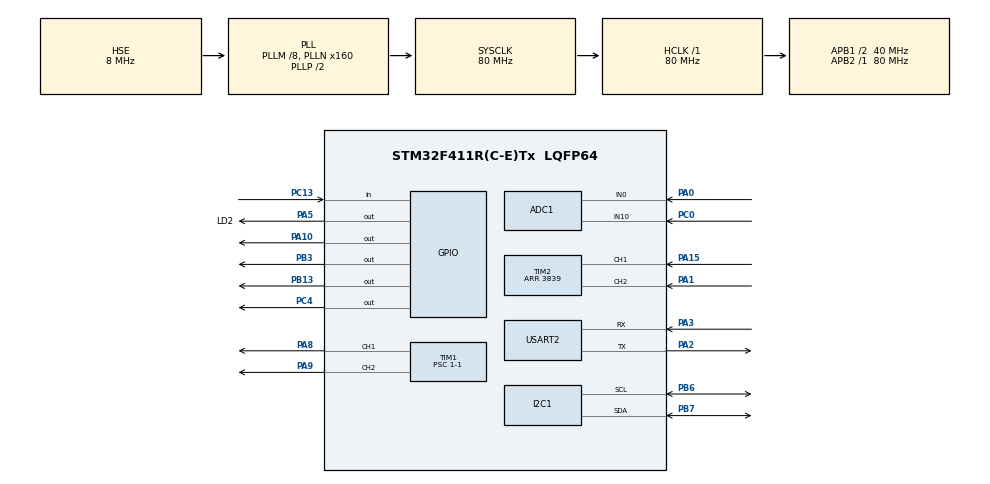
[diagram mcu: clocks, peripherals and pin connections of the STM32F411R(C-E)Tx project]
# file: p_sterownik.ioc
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ADC1.Channel-10\#ChannelRegularConversion=ADC_CHANNEL_0
ADC1.Channel-11\#ChannelRegularConversion=ADC_CHANNEL_10
ADC1.ContinuousConvMode=ENABLE
ADC1.NbrOfConversion=2
ADC1.NbrOfConversionFlag=1
ADC1.Rank-10\#ChannelRegularConversion=1
ADC1.Rank-11\#ChannelRegularConversion=2
ADC1.SamplingTime-10\#ChannelRegularConversion=ADC_SAMPLETIME_3CYCLES
ADC1.SamplingTime-11\#ChannelRegularConversion=ADC_SAMPLETIME_3CYCLES
ADC1.ScanConvMode=ENABLE
ADC1.master=1
Dma.Request0=USART2_RX
Dma.Request1=USART2_TX
Dma.USART2_RX.0.Direction=DMA_PERIPH_TO_MEMORY
Dma.USART2_RX.0.FIFOMode=DMA_FIFOMODE_DISABLE
Dma.USART2_RX.0.Instance=DMA1_Stream5
Dma.USART2_RX.0.MemDataAlignment=DMA_MDATAALIGN_BYTE
Dma.USART2_RX.0.MemInc=DMA_MINC_ENABLE
Dma.USART2_RX.0.Mode=DMA_CIRCULAR
Dma.USART2_RX.0.PeriphDataAlignment=DMA_PDATAALIGN_BYTE
Dma.USART2_RX.0.PeriphInc=DMA_PINC_DISABLE
Dma.USART2_RX.0.Priority=DMA_PRIORITY_LOW
Dma.USART2_TX.1.Direction=DMA_MEMORY_TO_PERIPH
Dma.USART2_TX.1.FIFOMode=DMA_FIFOMODE_DISABLE
Dma.USART2_TX.1.Instance=DMA1_Stream6
Dma.USART2_TX.1.MemDataAlignment=DMA_MDATAALIGN_BYTE
Dma.USART2_TX.1.MemInc=DMA_MINC_ENABLE
Dma.USART2_TX.1.Mode=DMA_CIRCULAR
Dma.USART2_TX.1.PeriphDataAlignment=DMA_PDATAALIGN_BYTE
Dma.USART2_TX.1.PeriphInc=DMA_PINC_DISABLE
Dma.USART2_TX.1.Priority=DMA_PRIORITY_LOW
I2C1.I2C_Mode=I2C_Standard
Mcu.Family=STM32F4
Mcu.Name=STM32F411R(C-E)Tx
Mcu.Package=LQFP64
NVIC.DMA1_Stream5_IRQn=true\:0\:0\:false\:false\:true\:false\:true\:true
NVIC.DMA1_Stream6_IRQn=true\:0\:0\:false\:false\:true\:false\:true\:true
NVIC.I2C1_EV_IRQn=true\:0\:0\:false\:false\:true\:true\:true\:true
NVIC.PriorityGroup=NVIC_PRIORITYGROUP_4
NVIC.TIM1_UP_TIM10_IRQn=true\:0\:0\:false\:false\:true\:true\:true\:true
NVIC.USART2_IRQn=true\:0\:0\:false\:false\:true\:true\:true\:true
PA0-WKUP.Signal=ADCx_IN0
PA1.Signal=S_TIM2_CH2
PA10.Signal=GPIO_Output
PA15.Signal=S_TIM2_CH1_ETR
PA2.Mode=Asynchronous
PA2.Signal=USART2_TX
PA3.Mode=Asynchronous
PA3.Signal=USART2_RX
PA5.GPIO_Label=LD2
PA5.GPIO_Speed=GPIO_SPEED_FREQ_HIGH
PA5.Signal=GPIO_Output
PA8.Signal=S_TIM1_CH1
PA9.Signal=S_TIM1_CH2
PB13.GPIO_PuPd=GPIO_PULLUP
PB13.Signal=GPIO_Output
PB3.Signal=GPIO_Output
PB6.GPIO_Pu=GPIO_NOPULL
PB6.Mode=I2C
PB6.Signal=I2C1_SCL
PB7.GPIO_Pu=GPIO_NOPULL
PB7.Mode=I2C
PB7.Signal=I2C1_SDA
PC0.Signal=ADCx_IN10
PC13-ANTI_TAMP.Signal=GPIO_Input
PC4.Signal=GPIO_Output
PH0\ -\ OSC_IN.Mode=HSE-External-Oscillator
PH0\ -\ OSC_IN.Signal=RCC_OSC_IN
PH1\ -\ OSC_OUT.Mode=HSE-External-Oscillator
PH1\ -\ OSC_OUT.Signal=RCC_OSC_OUT
ProjectManager.HeapSize=0x200
ProjectManager.StackSize=0x400
ProjectManager.TargetToolchain=STM32CubeIDE
RCC.48MHZClocksFreq_Value=40000000
RCC.AHBFreq_Value=80000000
RCC.APB1CLKDivider=RCC_HCLK_DIV2
RCC.APB1Freq_Value=40000000
RCC.APB1TimFreq_Value=80000000
RCC.APB2Freq_Value=80000000
RCC.APB2TimFreq_Value=80000000
RCC.CortexFreq_Value=80000000
RCC.HCLKFreq_Value=80000000
RCC.HSE_VALUE=8000000
RCC.HSI_VALUE=16000000
RCC.LSE_VALUE=32768
RCC.PLLM=8
RCC.PLLN=160
RCC.PLLSourceVirtual=RCC_PLLSOURCE_HSE
RCC.SYSCLKFreq_VALUE=80000000
RCC.SYSCLKSource=RCC_SYSCLKSOURCE_PLLCLK
RCC.VCOOutputFreq_Value=160000000
SH.ADCx_IN0.0=ADC1_IN0,IN0
SH.ADCx_IN10.0=ADC1_IN10,IN10
SH.S_TIM1_CH1.0=TIM1_CH1,PWM Generation1 CH1
SH.S_TIM1_CH2.0=TIM1_CH2,PWM Generation2 CH2
SH.S_TIM2_CH1_ETR.0=TIM2_CH1,Encoder_Interface
SH.S_TIM2_CH2.0=TIM2_CH2,Encoder_Interface
TIM1.Channel-PWM\ Generation1\ CH1=TIM_CHANNEL_1
TIM1.Channel-PWM\ Generation2\ CH2=TIM_CHANNEL_2
TIM1.Period=1000-1
TIM1.Prescaler=1-1
TIM1.Pulse-PWM\ Generation1\ CH1=300
TIM1.Pulse-PWM\ Generation2\ CH2=300
TIM10.Period=80
TIM10.Prescaler=9999
TIM2.EncoderMode=TIM_ENCODERMODE_TI12
TIM2.IC1Filter=15
TIM2.IC2Filter=15
TIM2.Period=3839
TIM3.Period=20000
TIM3.Prescaler=64000
USART2.VirtualMode=VM_ASYNC
VP_TIM10_VS_ClockSourceINT.Mode=Enable_Timer
VP_TIM3_VS_ClockSourceINT.Mode=Internal
board=custom

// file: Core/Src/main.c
/* USER CODE BEGIN Header */
/**
  ******************************************************************************
  * @file           : main.c
  * @brief          : Main program body
  ******************************************************************************
  * @attention
  *
  * <h2><center>&copy; Copyright (c) 2022 STMicroelectronics.
  * All rights reserved.</center></h2>
  *
  * This software component is licensed by ST under BSD 3-Clause license,
  * the "License"; You may not use this file except in compliance with the
  * License. You may obtain a copy of the License at:
  *                        opensource.org/licenses/BSD-3-Clause
  *
  ******************************************************************************
  */
/* USER CODE END Header */
#include "main.h"

/* USER CODE BEGIN Includes */
#include "string.h"
#include <stdio.h>
#include "math.h"
#include "HMC5883L.h"

//#include "i2c.h"

/* USER CODE END Includes */

 ADC_HandleTypeDef hadc1;

I2C_HandleTypeDef hi2c1;

TIM_HandleTypeDef htim1;
TIM_HandleTypeDef htim2;
TIM_HandleTypeDef htim3;
TIM_HandleTypeDef htim10;

UART_HandleTypeDef huart2;
DMA_HandleTypeDef hdma_usart2_rx;
DMA_HandleTypeDef hdma_usart2_tx;

/* USER CODE BEGIN PV */
volatile const float c=5.2*3.14; // Licznik impulsow
volatile const float k=(5.2*3.14)/3840;
volatile uint16_t Vamb, Vamb_1;
/* USER CODE END PV */

void SystemClock_Config(void);
static void MX_GPIO_Init(void);
static void MX_TIM1_Init(void);
static void MX_DMA_Init(void);
static void MX_I2C1_Init(void);
static void MX_USART2_UART_Init(void);
static void MX_TIM3_Init(void);
static void MX_TIM2_Init(void);
static void MX_ADC1_Init(void);
static void MX_TIM10_Init(void);

/* USER CODE BEGIN 0 */
/*void HAL_TIM_PeriodElapsedCallback(TIM_HandleTypeDef *htim)

 {
	  HAL_GPIO_TogglePin(GPIOA, GPIO_PIN_5);

 }*/

uint8_t Data[6];
int16_t rawData[3];
float scaledData[3];
float azymuth=0;
char msg[30];
int16_t xoffset=0, yoffset=0;
float direction = 359.5;

//Zatrzymanie silników
void stop()
{
    HAL_GPIO_WritePin(GPIOC, GPIO_PIN_4, RESET);
    HAL_GPIO_WritePin(GPIOA, GPIO_PIN_10, RESET);
    HAL_GPIO_WritePin(GPIOB, GPIO_PIN_13, RESET);
    HAL_GPIO_WritePin(GPIOB, GPIO_PIN_3, RESET);
}

//Ruch prosto
void move_forward(int time)
{

    HAL_GPIO_WritePin(GPIOC, GPIO_PIN_4, SET);
    HAL_GPIO_WritePin(GPIOB, GPIO_PIN_13, RESET);
    HAL_GPIO_WritePin(GPIOB, GPIO_PIN_3, SET);
    HAL_GPIO_WritePin(GPIOA, GPIO_PIN_10, RESET);

    HAL_Delay(time);
    stop();
}

//Obrót w prawo przez określony czas
void turn_right_time(int time)
{
    HAL_GPIO_WritePin(GPIOC, GPIO_PIN_4, SET);
    HAL_GPIO_WritePin(GPIOB, GPIO_PIN_13, RESET);
    HAL_GPIO_WritePin(GPIOB, GPIO_PIN_3, RESET);
    HAL_GPIO_WritePin(GPIOA, GPIO_PIN_10, SET);
    HAL_Delay(time);
    stop();
}

//Obrót w prawo (ciągły)
void turn_right()
{
    HAL_GPIO_WritePin(GPIOC, GPIO_PIN_4, SET);
    HAL_GPIO_WritePin(GPIOB, GPIO_PIN_3, RESET);
    HAL_GPIO_WritePin(GPIOB, GPIO_PIN_13, RESET);
    HAL_GPIO_WritePin(GPIOA, GPIO_PIN_10, SET);
}

//Obrót w lewo przez określony czas
void turn_left_time(int time)
{
    HAL_GPIO_WritePin(GPIOB, GPIO_PIN_3, SET);
    HAL_GPIO_WritePin(GPIOA, GPIO_PIN_10, RESET);
    HAL_GPIO_WritePin(GPIOC, GPIO_PIN_4, RESET);
    HAL_GPIO_WritePin(GPIOB, GPIO_PIN_13,SET);
    HAL_Delay(time);
    stop();
}

//Obrót w lewo (ciągły)
void turn_left()
{
    HAL_GPIO_WritePin(GPIOB, GPIO_PIN_3, SET);
    HAL_GPIO_WritePin(GPIOC, GPIO_PIN_4, RESET);
    HAL_GPIO_WritePin(GPIOA, GPIO_PIN_10, RESET);
    HAL_GPIO_WritePin(GPIOB, GPIO_PIN_13,SET);

}

//Wyślij napis przez UART
void send_string(char* s)
{
    HAL_UART_Transmit(&huart2, (uint8_t*)s, strlen(s), 100);
}

//Zmiana predkosci silników
void change_speed(uint32_t pulse)
{
    htim1.Instance->CCR1=pulse;
    htim1.Instance->CCR2=pulse;
}

void move_forward_1()
{

    HAL_GPIO_WritePin(GPIOC, GPIO_PIN_4, SET);
    HAL_GPIO_WritePin(GPIOB, GPIO_PIN_13, RESET);
    HAL_GPIO_WritePin(GPIOB, GPIO_PIN_3, SET);
    HAL_GPIO_WritePin(GPIOA, GPIO_PIN_10, RESET);

   // HAL_Delay(time);
  //  stop();
}

void ch_0(){
	 ADC_ChannelConfTypeDef sConfig = {0};
  sConfig.Channel = ADC_CHANNEL_0;
  sConfig.Rank = 1;
  sConfig.SamplingTime = ADC_SAMPLETIME_3CYCLES;
  if (HAL_ADC_ConfigChannel(&hadc1, &sConfig) != HAL_OK)
  {
    Error_Handler();
  }}

void ch_10(){
	 ADC_ChannelConfTypeDef sConfig = {0};
sConfig.Channel = ADC_CHANNEL_10;
  sConfig.Rank = 1;
  sConfig.SamplingTime = ADC_SAMPLETIME_3CYCLES;
  if (HAL_ADC_ConfigChannel(&hadc1, &sConfig) != HAL_OK)
  {
    Error_Handler();
  }}
/* USER CODE END 0 */

int main(void)
{

  /* MCU Configuration--------------------------------------------------------*/

  /* Reset of all peripherals, Initializes the Flash interface and the Systick. */
  HAL_Init();

  /* Configure the system clock */
  SystemClock_Config();

  /* Initialize all configured peripherals */
  MX_GPIO_Init();
  MX_TIM1_Init();
  MX_DMA_Init();
  MX_I2C1_Init();
  MX_USART2_UART_Init();
  MX_TIM3_Init();
  MX_TIM2_Init();
  MX_ADC1_Init();
  MX_TIM10_Init();
  /* USER CODE BEGIN 2 */
   __HAL_RCC_I2C1_CLK_ENABLE();
   __I2C1_CLK_ENABLE();
   __HAL_RCC_USART2_CLK_ENABLE();
   HAL_TIM_Base_Start_IT(&htim1);
   HAL_TIM_PWM_Start(&htim1, TIM_CHANNEL_1);
   HAL_TIM_PWM_Start(&htim1, TIM_CHANNEL_2);
   HAL_TIM_Encoder_Start(&htim2, TIM_CHANNEL_ALL);

   __HAL_RCC_GPIOA_CLK_ENABLE();
   	__HAL_RCC_USART2_CLK_ENABLE();
   	__HAL_RCC_ADC1_CLK_ENABLE();
   //	HAL_ADCEx_Calibration_Start(&hadc1);

    HAL_ADC_Start(&hadc1);
   // HAL_ADC_PollForConversion(&hadc1, 1);
  //  Vamb = HAL_ADC_GetValue(&hadc1);
  //  DC_Multiplier = 65535/(4096-Vamb);

    HAL_TIM_Base_Start_IT(&htim10);
  //  HAL_Delay(5000);
  //  magnetometer_init();
  //  calibrate();
 //  HAL_Delay(1000);

    // move_(88);

    while(1){

    	    ch_0();
    		  HAL_ADC_Start(&hadc1);
    		  HAL_ADC_PollForConversion(&hadc1, 1000);
    		  Vamb = HAL_ADC_GetValue(&hadc1);
    		  HAL_ADC_Stop(&hadc1);

    		  ch_10();
    		  HAL_ADC_Start(&hadc1);
    		  HAL_ADC_PollForConversion(&hadc1, 1000);
    		  Vamb_1= HAL_ADC_GetValue(&hadc1);
    		  HAL_ADC_Stop(&hadc1);

    	}
    /*	if(k*cnt>10){
    	stop();
    	}
    	}*/
   // HAL_Delay(1000);
  //  magnetic_direction();
  //  HAL_Delay(1000);
  //  turn_left_time(2000);
  //  HAL_Delay(1000);

    /*HAL_Delay(1000);
    turn_left_time(1000);
    north();
    HAL_Delay(1000);
    turn_right_time(1000);
    north();*/

  /* USER CODE END 2 */

  /* Infinite loop */
  /* USER CODE BEGIN WHILE */
    while (1)
    {
   //     HAL_GPIO_TogglePin(GPIOA, GPIO_PIN_5);
    //    HAL_Delay(500);
   //     magnetometer_measure();
    /* USER CODE END WHILE */

    }
}

void SystemClock_Config(void)
{
  RCC_OscInitTypeDef RCC_OscInitStruct = {0};
  RCC_ClkInitTypeDef RCC_ClkInitStruct = {0};

  /** Configure the main internal regulator output voltage
  */
  __HAL_RCC_PWR_CLK_ENABLE();
  __HAL_PWR_VOLTAGESCALING_CONFIG(PWR_REGULATOR_VOLTAGE_SCALE1);

  /** Initializes the RCC Oscillators according to the specified parameters
  * in the RCC_OscInitTypeDef structure.
  */
  RCC_OscInitStruct.OscillatorType = RCC_OSCILLATORTYPE_HSE;
  RCC_OscInitStruct.HSEState = RCC_HSE_ON;
  RCC_OscInitStruct.PLL.PLLState = RCC_PLL_ON;
  RCC_OscInitStruct.PLL.PLLSource = RCC_PLLSOURCE_HSE;
  RCC_OscInitStruct.PLL.PLLM = 8;
  RCC_OscInitStruct.PLL.PLLN = 160;
  RCC_OscInitStruct.PLL.PLLP = RCC_PLLP_DIV2;
  RCC_OscInitStruct.PLL.PLLQ = 4;
  if (HAL_RCC_OscConfig(&RCC_OscInitStruct) != HAL_OK)
  {
    Error_Handler();
  }

  /** Initializes the CPU, AHB and APB buses clocks
  */
  RCC_ClkInitStruct.ClockType = RCC_CLOCKTYPE_HCLK|RCC_CLOCKTYPE_SYSCLK
                              |RCC_CLOCKTYPE_PCLK1|RCC_CLOCKTYPE_PCLK2;
  RCC_ClkInitStruct.SYSCLKSource = RCC_SYSCLKSOURCE_PLLCLK;
  RCC_ClkInitStruct.AHBCLKDivider = RCC_SYSCLK_DIV1;
  RCC_ClkInitStruct.APB1CLKDivider = RCC_HCLK_DIV2;
  RCC_ClkInitStruct.APB2CLKDivider = RCC_HCLK_DIV1;

  if (HAL_RCC_ClockConfig(&RCC_ClkInitStruct, FLASH_LATENCY_2) != HAL_OK)
  {
    Error_Handler();
  }
}

static void MX_ADC1_Init(void)
{

  ADC_ChannelConfTypeDef sConfig = {0};

  /** Configure the global features of the ADC (Clock, Resolution, Data Alignment and number of conversion)
  */
  hadc1.Instance = ADC1;
  hadc1.Init.ClockPrescaler = ADC_CLOCK_SYNC_PCLK_DIV4;
  hadc1.Init.Resolution = ADC_RESOLUTION_12B;
  hadc1.Init.ScanConvMode = ENABLE;
  hadc1.Init.ContinuousConvMode = ENABLE;
  hadc1.Init.DiscontinuousConvMode = DISABLE;
  hadc1.Init.ExternalTrigConvEdge = ADC_EXTERNALTRIGCONVEDGE_NONE;
  hadc1.Init.ExternalTrigConv = ADC_SOFTWARE_START;
  hadc1.Init.DataAlign = ADC_DATAALIGN_RIGHT;
  hadc1.Init.NbrOfConversion = 1;
  hadc1.Init.DMAContinuousRequests = DISABLE;
  hadc1.Init.EOCSelection = ADC_EOC_SINGLE_CONV;
  if (HAL_ADC_Init(&hadc1) != HAL_OK)
  {
    Error_Handler();
  }

  /** Configure for the selected ADC regular channel its corresponding rank in the sequencer and its sample time.
  *//*
  sConfig.Channel = ADC_CHANNEL_0;
  sConfig.Rank = 1;
  sConfig.SamplingTime = ADC_SAMPLETIME_3CYCLES;
  if (HAL_ADC_ConfigChannel(&hadc1, &sConfig) != HAL_OK)
  {
    Error_Handler();
  }*/

  /** Configure for the selected ADC regular channel its corresponding rank in the sequencer and its sample time.
  *//*
  sConfig.Channel = ADC_CHANNEL_10;
  sConfig.Rank = 1;
  if (HAL_ADC_ConfigChannel(&hadc1, &sConfig) != HAL_OK)
  {
    Error_Handler();
  }*/

}

static void MX_I2C1_Init(void)
{

  hi2c1.Instance = I2C1;
  hi2c1.Init.ClockSpeed = 100000;
  hi2c1.Init.DutyCycle = I2C_DUTYCYCLE_2;
  hi2c1.Init.OwnAddress1 = 0;
  hi2c1.Init.AddressingMode = I2C_ADDRESSINGMODE_7BIT;
  hi2c1.Init.DualAddressMode = I2C_DUALADDRESS_DISABLE;
  hi2c1.Init.OwnAddress2 = 0;
  hi2c1.Init.GeneralCallMode = I2C_GENERALCALL_DISABLE;
  hi2c1.Init.NoStretchMode = I2C_NOSTRETCH_DISABLE;
  if (HAL_I2C_Init(&hi2c1) != HAL_OK)
  {
    Error_Handler();
  }

}

static void MX_TIM1_Init(void)
{

  TIM_MasterConfigTypeDef sMasterConfig = {0};
  TIM_OC_InitTypeDef sConfigOC = {0};
  TIM_BreakDeadTimeConfigTypeDef sBreakDeadTimeConfig = {0};

  htim1.Instance = TIM1;
  htim1.Init.Prescaler = 1-1;
  htim1.Init.CounterMode = TIM_COUNTERMODE_UP;
  htim1.Init.Period = 1000-1;
  htim1.Init.ClockDivision = TIM_CLOCKDIVISION_DIV1;
  htim1.Init.RepetitionCounter = 0;
  htim1.Init.AutoReloadPreload = TIM_AUTORELOAD_PRELOAD_DISABLE;
  if (HAL_TIM_PWM_Init(&htim1) != HAL_OK)
  {
    Error_Handler();
  }
  sMasterConfig.MasterOutputTrigger = TIM_TRGO_RESET;
  sMasterConfig.MasterSlaveMode = TIM_MASTERSLAVEMODE_DISABLE;
  if (HAL_TIMEx_MasterConfigSynchronization(&htim1, &sMasterConfig) != HAL_OK)
  {
    Error_Handler();
  }
  sConfigOC.OCMode = TIM_OCMODE_PWM1;
  sConfigOC.Pulse = 300;
  sConfigOC.OCPolarity = TIM_OCPOLARITY_HIGH;
  sConfigOC.OCNPolarity = TIM_OCNPOLARITY_HIGH;
  sConfigOC.OCFastMode = TIM_OCFAST_DISABLE;
  sConfigOC.OCIdleState = TIM_OCIDLESTATE_RESET;
  sConfigOC.OCNIdleState = TIM_OCNIDLESTATE_RESET;
  if (HAL_TIM_PWM_ConfigChannel(&htim1, &sConfigOC, TIM_CHANNEL_1) != HAL_OK)
  {
    Error_Handler();
  }
  if (HAL_TIM_PWM_ConfigChannel(&htim1, &sConfigOC, TIM_CHANNEL_2) != HAL_OK)
  {
    Error_Handler();
  }
  sBreakDeadTimeConfig.OffStateRunMode = TIM_OSSR_DISABLE;
  sBreakDeadTimeConfig.OffStateIDLEMode = TIM_OSSI_DISABLE;
  sBreakDeadTimeConfig.LockLevel = TIM_LOCKLEVEL_OFF;
  sBreakDeadTimeConfig.DeadTime = 0;
  sBreakDeadTimeConfig.BreakState = TIM_BREAK_DISABLE;
  sBreakDeadTimeConfig.BreakPolarity = TIM_BREAKPOLARITY_HIGH;
  sBreakDeadTimeConfig.AutomaticOutput = TIM_AUTOMATICOUTPUT_DISABLE;
  if (HAL_TIMEx_ConfigBreakDeadTime(&htim1, &sBreakDeadTimeConfig) != HAL_OK)
  {
    Error_Handler();
  }
  HAL_TIM_MspPostInit(&htim1);

}

static void MX_TIM2_Init(void)
{

  TIM_Encoder_InitTypeDef sConfig = {0};
  TIM_MasterConfigTypeDef sMasterConfig = {0};

  htim2.Instance = TIM2;
  htim2.Init.Prescaler = 0;
  htim2.Init.CounterMode = TIM_COUNTERMODE_UP;
  htim2.Init.Period = 3839;
  htim2.Init.ClockDivision = TIM_CLOCKDIVISION_DIV1;
  htim2.Init.AutoReloadPreload = TIM_AUTORELOAD_PRELOAD_DISABLE;
  sConfig.EncoderMode = TIM_ENCODERMODE_TI12;
  sConfig.IC1Polarity = TIM_ICPOLARITY_RISING;
  sConfig.IC1Selection = TIM_ICSELECTION_DIRECTTI;
  sConfig.IC1Prescaler = TIM_ICPSC_DIV1;
  sConfig.IC1Filter = 15;
  sConfig.IC2Polarity = TIM_ICPOLARITY_RISING;
  sConfig.IC2Selection = TIM_ICSELECTION_DIRECTTI;
  sConfig.IC2Prescaler = TIM_ICPSC_DIV1;
  sConfig.IC2Filter = 15;
  if (HAL_TIM_Encoder_Init(&htim2, &sConfig) != HAL_OK)
  {
    Error_Handler();
  }
  sMasterConfig.MasterOutputTrigger = TIM_TRGO_RESET;
  sMasterConfig.MasterSlaveMode = TIM_MASTERSLAVEMODE_DISABLE;
  if (HAL_TIMEx_MasterConfigSynchronization(&htim2, &sMasterConfig) != HAL_OK)
  {
    Error_Handler();
  }

}

static void MX_TIM3_Init(void)
{

  TIM_ClockConfigTypeDef sClockSourceConfig = {0};
  TIM_MasterConfigTypeDef sMasterConfig = {0};

  htim3.Instance = TIM3;
  htim3.Init.Prescaler = 64000;
  htim3.Init.CounterMode = TIM_COUNTERMODE_UP;
  htim3.Init.Period = 20000;
  htim3.Init.ClockDivision = TIM_CLOCKDIVISION_DIV1;
  htim3.Init.AutoReloadPreload = TIM_AUTORELOAD_PRELOAD_DISABLE;
  if (HAL_TIM_Base_Init(&htim3) != HAL_OK)
  {
    Error_Handler();
  }
  sClockSourceConfig.ClockSource = TIM_CLOCKSOURCE_INTERNAL;
  if (HAL_TIM_ConfigClockSource(&htim3, &sClockSourceConfig) != HAL_OK)
  {
    Error_Handler();
  }
  sMasterConfig.MasterOutputTrigger = TIM_TRGO_RESET;
  sMasterConfig.MasterSlaveMode = TIM_MASTERSLAVEMODE_DISABLE;
  if (HAL_TIMEx_MasterConfigSynchronization(&htim3, &sMasterConfig) != HAL_OK)
  {
    Error_Handler();
  }

}

static void MX_TIM10_Init(void)
{

  htim10.Instance = TIM10;
  htim10.Init.Prescaler = 9999;
  htim10.Init.CounterMode = TIM_COUNTERMODE_UP;
  htim10.Init.Period = 80;
  htim10.Init.ClockDivision = TIM_CLOCKDIVISION_DIV1;
  htim10.Init.AutoReloadPreload = TIM_AUTORELOAD_PRELOAD_DISABLE;
  if (HAL_TIM_Base_Init(&htim10) != HAL_OK)
  {
    Error_Handler();
  }

}

static void MX_USART2_UART_Init(void)
{

  huart2.Instance = USART2;
  huart2.Init.BaudRate = 115200;
  huart2.Init.WordLength = UART_WORDLENGTH_8B;
  huart2.Init.StopBits = UART_STOPBITS_1;
  huart2.Init.Parity = UART_PARITY_NONE;
  huart2.Init.Mode = UART_MODE_TX_RX;
  huart2.Init.HwFlowCtl = UART_HWCONTROL_NONE;
  huart2.Init.OverSampling = UART_OVERSAMPLING_16;
  if (HAL_UART_Init(&huart2) != HAL_OK)
  {
    Error_Handler();
  }

}

static void MX_DMA_Init(void)
{

  /* DMA controller clock enable */
  __HAL_RCC_DMA1_CLK_ENABLE();

  /* DMA interrupt init */
  /* DMA1_Stream5_IRQn interrupt configuration */
  HAL_NVIC_SetPriority(DMA1_Stream5_IRQn, 0, 0);
  HAL_NVIC_EnableIRQ(DMA1_Stream5_IRQn);
  /* DMA1_Stream6_IRQn interrupt configuration */
  HAL_NVIC_SetPriority(DMA1_Stream6_IRQn, 0, 0);
  HAL_NVIC_EnableIRQ(DMA1_Stream6_IRQn);

}

static void MX_GPIO_Init(void)
{
  GPIO_InitTypeDef GPIO_InitStruct = {0};

  /* GPIO Ports Clock Enable */
  __HAL_RCC_GPIOC_CLK_ENABLE();
  __HAL_RCC_GPIOH_CLK_ENABLE();
  __HAL_RCC_GPIOA_CLK_ENABLE();
  __HAL_RCC_GPIOB_CLK_ENABLE();

  /*Configure GPIO pin Output Level */
  HAL_GPIO_WritePin(GPIOA, LD2_Pin|GPIO_PIN_10, GPIO_PIN_RESET);

  /*Configure GPIO pin Output Level */
  HAL_GPIO_WritePin(GPIOC, GPIO_PIN_4, GPIO_PIN_RESET);

  /*Configure GPIO pin Output Level */
  HAL_GPIO_WritePin(GPIOB, GPIO_PIN_13|GPIO_PIN_3, GPIO_PIN_RESET);

  /*Configure GPIO pin : PC13 */
  GPIO_InitStruct.Pin = GPIO_PIN_13;
  GPIO_InitStruct.Mode = GPIO_MODE_INPUT;
  GPIO_InitStruct.Pull = GPIO_NOPULL;
  HAL_GPIO_Init(GPIOC, &GPIO_InitStruct);

  /*Configure GPIO pin : LD2_Pin */
  GPIO_InitStruct.Pin = LD2_Pin;
  GPIO_InitStruct.Mode = GPIO_MODE_OUTPUT_PP;
  GPIO_InitStruct.Pull = GPIO_NOPULL;
  GPIO_InitStruct.Speed = GPIO_SPEED_FREQ_HIGH;
  HAL_GPIO_Init(LD2_GPIO_Port, &GPIO_InitStruct);

  /*Configure GPIO pin : PC4 */
  GPIO_InitStruct.Pin = GPIO_PIN_4;
  GPIO_InitStruct.Mode = GPIO_MODE_OUTPUT_PP;
  GPIO_InitStruct.Pull = GPIO_NOPULL;
  GPIO_InitStruct.Speed = GPIO_SPEED_FREQ_LOW;
  HAL_GPIO_Init(GPIOC, &GPIO_InitStruct);

  /*Configure GPIO pin : PB13 */
  GPIO_InitStruct.Pin = GPIO_PIN_13;
  GPIO_InitStruct.Mode = GPIO_MODE_OUTPUT_PP;
  GPIO_InitStruct.Pull = GPIO_PULLUP;
  GPIO_InitStruct.Speed = GPIO_SPEED_FREQ_LOW;
  HAL_GPIO_Init(GPIOB, &GPIO_InitStruct);

  /*Configure GPIO pin : PA10 */
  GPIO_InitStruct.Pin = GPIO_PIN_10;
  GPIO_InitStruct.Mode = GPIO_MODE_OUTPUT_PP;
  GPIO_InitStruct.Pull = GPIO_NOPULL;
  GPIO_InitStruct.Speed = GPIO_SPEED_FREQ_LOW;
  HAL_GPIO_Init(GPIOA, &GPIO_InitStruct);

  /*Configure GPIO pin : PB3 */
  GPIO_InitStruct.Pin = GPIO_PIN_3;
  GPIO_InitStruct.Mode = GPIO_MODE_OUTPUT_PP;
  GPIO_InitStruct.Pull = GPIO_NOPULL;
  GPIO_InitStruct.Speed = GPIO_SPEED_FREQ_LOW;
  HAL_GPIO_Init(GPIOB, &GPIO_InitStruct);

}

void Error_Handler(void)
{
    __disable_irq();
    while (1)
    {
    }
}
